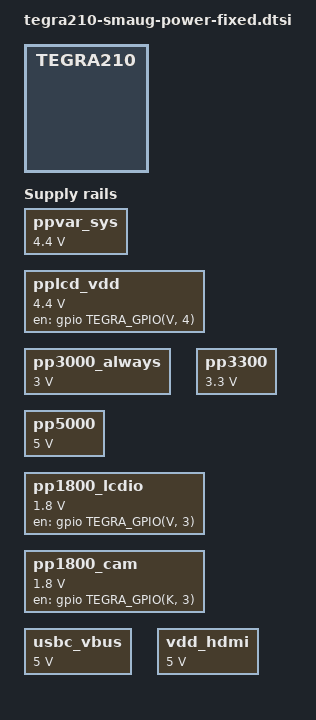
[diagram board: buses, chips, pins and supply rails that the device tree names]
/*
 * Copyright (c) 2014-2017, NVIDIA CORPORATION.  All rights reserved.
 *
 * This program is free software; you can redistribute it and/or modify
 * it under the terms of the GNU General Public License as published by
 * the Free Software Foundation; either version 2 of the License, or
 * (at your option) any later version.
 *
 * This program is distributed in the hope that it will be useful, but WITHOUT
 * ANY WARRANTY; without even the implied warranty of MERCHANTABILITY or
 * FITNESS FOR A PARTICULAR PURPOSE.  See the GNU General Public License for
 * more details.
 *
 * You should have received a copy of the GNU General Public License along
 * with this program; if not, write to the Free Software Foundation, Inc.,
 * 51 Franklin Street, Fifth Floor, Boston, MA  02110-1301, USA.
 */

#include <dt-bindings/gpio/tegra-gpio.h>

/ {
	regulators {
		compatible = "simple-bus";
		device_type = "fixed-regulators";
		#address-cells = <1>;
		#size-cells = <0>;

		ppvar_sys: regulator@0 {
			compatible = "regulator-fixed";
			reg = <0>;
			regulator-name = "ppvar-sys";
			regulator-min-microvolt = <4400000>;
			regulator-max-microvolt = <4400000>;
			regulator-always-on;
			regulator-boot-on;
		};

		pplcd_vdd: regulator@1 {
			compatible = "regulator-fixed-sync";
			reg = <1>;
			regulator-name = "pplcd-vdd";
			regulator-min-microvolt = <4400000>;
			regulator-max-microvolt = <4400000>;
			gpio = <&gpio TEGRA_GPIO(V, 4) 0>;
			enable-active-high;
			regulator-boot-on;
		};

		pp3000_always: regulator@2 {
			compatible = "regulator-fixed-sync";
			reg = <2>;
			regulator-name = "pp3000-always";
			regulator-min-microvolt = <3000000>;
			regulator-max-microvolt = <3000000>;
			regulator-always-on;
		};

		pp3300: regulator@3 {
			compatible = "regulator-fixed-sync";
			reg = <3>;
			regulator-name = "pp3300";
			regulator-min-microvolt = <3300000>;
			regulator-max-microvolt = <3300000>;
			regulator-boot-on;
			regulator-always-on;
			enable-active-high;
		};

		pp5000: regulator@4 {
			compatible = "regulator-fixed-sync";
			reg = <4>;
			regulator-name = "pp5000";
			regulator-min-microvolt = <5000000>;
			regulator-max-microvolt = <5000000>;
			regulator-always-on;
			regulator-boot-on;
		};

		pp1800_lcdio: regulator@5 {
			compatible = "regulator-fixed-sync";
			reg = <5>;
			regulator-name = "pp1800-lcdio";
			regulator-min-microvolt = <1800000>;
			regulator-max-microvolt = <1800000>;
			gpio = <&gpio TEGRA_GPIO(V, 3) 0>;
			enable-active-high;
			regulator-boot-on;
		};

		pp1800_cam: regulator@6 {
			compatible = "regulator-fixed-sync";
			reg= <6>;
			regulator-name = "pp1800-cam";
			regulator-min-microvolt = <1800000>;
			regulator-max-microvolt = <1800000>;
			gpio = <&gpio TEGRA_GPIO(K, 3) 0>;
			enable-active-high;
		};

		usbc_vbus: regulator@7 {
			compatible = "regulator-fixed-sync";
			reg = <7>;
			regulator-name = "usbc-vbus";
			regulator-min-microvolt = <5000000>;
			regulator-max-microvolt = <5000000>;
		};

		vdd_hdmi: regulator@8 {
			compatible = "regulator-fixed";
			reg = <8>;
			regulator-name = "vdd-hdmi";
			regulator-min-microvolt = <5000000>;
			regulator-max-microvolt = <5000000>;
		};
	};
};
